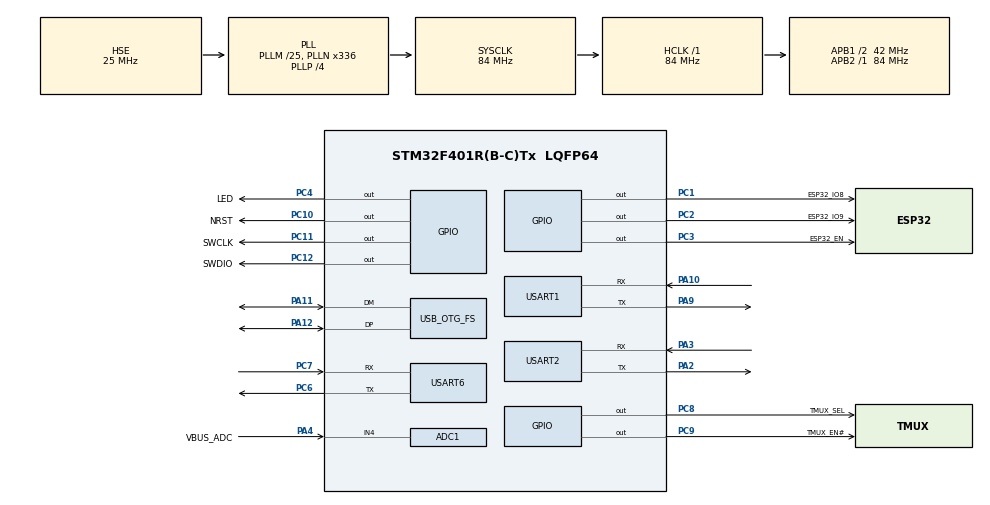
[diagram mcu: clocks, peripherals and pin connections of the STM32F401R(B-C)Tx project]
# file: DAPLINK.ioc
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ADC1.Channel-0\#ChannelRegularConversion=ADC_CHANNEL_4
ADC1.NbrOfConversion=1
ADC1.NbrOfConversionFlag=1
ADC1.Rank-0\#ChannelRegularConversion=1
ADC1.SamplingTime-0\#ChannelRegularConversion=ADC_SAMPLETIME_480CYCLES
ADC1.master=1
Dma.Request0=USART1_RX
Dma.Request1=USART2_RX
Dma.Request2=USART6_RX
Dma.USART1_RX.0.Direction=DMA_PERIPH_TO_MEMORY
Dma.USART1_RX.0.FIFOMode=DMA_FIFOMODE_DISABLE
Dma.USART1_RX.0.Instance=DMA2_Stream2
Dma.USART1_RX.0.MemDataAlignment=DMA_MDATAALIGN_BYTE
Dma.USART1_RX.0.MemInc=DMA_MINC_ENABLE
Dma.USART1_RX.0.Mode=DMA_CIRCULAR
Dma.USART1_RX.0.PeriphDataAlignment=DMA_PDATAALIGN_BYTE
Dma.USART1_RX.0.PeriphInc=DMA_PINC_DISABLE
Dma.USART1_RX.0.Priority=DMA_PRIORITY_MEDIUM
Dma.USART2_RX.1.Direction=DMA_PERIPH_TO_MEMORY
Dma.USART2_RX.1.FIFOMode=DMA_FIFOMODE_DISABLE
Dma.USART2_RX.1.Instance=DMA1_Stream5
Dma.USART2_RX.1.MemDataAlignment=DMA_MDATAALIGN_BYTE
Dma.USART2_RX.1.MemInc=DMA_MINC_ENABLE
Dma.USART2_RX.1.Mode=DMA_CIRCULAR
Dma.USART2_RX.1.PeriphDataAlignment=DMA_PDATAALIGN_BYTE
Dma.USART2_RX.1.PeriphInc=DMA_PINC_DISABLE
Dma.USART2_RX.1.Priority=DMA_PRIORITY_MEDIUM
Dma.USART6_RX.2.Direction=DMA_PERIPH_TO_MEMORY
Dma.USART6_RX.2.FIFOMode=DMA_FIFOMODE_DISABLE
Dma.USART6_RX.2.Instance=DMA2_Stream1
Dma.USART6_RX.2.MemDataAlignment=DMA_MDATAALIGN_BYTE
Dma.USART6_RX.2.MemInc=DMA_MINC_ENABLE
Dma.USART6_RX.2.Mode=DMA_CIRCULAR
Dma.USART6_RX.2.PeriphDataAlignment=DMA_PDATAALIGN_BYTE
Dma.USART6_RX.2.PeriphInc=DMA_PINC_DISABLE
Dma.USART6_RX.2.Priority=DMA_PRIORITY_MEDIUM
Mcu.Family=STM32F4
Mcu.Name=STM32F401R(B-C)Tx
Mcu.Package=LQFP64
NVIC.ADC_IRQn=true\:0\:0\:false\:false\:true\:true\:true\:true
NVIC.DMA1_Stream5_IRQn=true\:0\:0\:false\:false\:true\:false\:true\:true
NVIC.DMA2_Stream1_IRQn=true\:0\:0\:false\:false\:true\:false\:true\:true
NVIC.DMA2_Stream2_IRQn=true\:0\:0\:false\:false\:true\:false\:true\:true
NVIC.OTG_FS_IRQn=true\:0\:0\:false\:false\:true\:true\:true\:true
NVIC.PriorityGroup=NVIC_PRIORITYGROUP_4
NVIC.USART1_IRQn=true\:0\:0\:false\:false\:true\:true\:true\:true
NVIC.USART2_IRQn=true\:0\:0\:false\:false\:true\:true\:true\:true
NVIC.USART6_IRQn=true\:0\:0\:false\:false\:true\:true\:true\:true
PA10.Mode=Asynchronous
PA10.Signal=USART1_RX
PA11.Mode=Device_Only
PA11.Signal=USB_OTG_FS_DM
PA12.Mode=Device_Only
PA12.Signal=USB_OTG_FS_DP
PA13.Mode=Serial_Wire
PA13.Signal=SYS_JTMS-SWDIO
PA14.Mode=Serial_Wire
PA14.Signal=SYS_JTCK-SWCLK
PA2.Mode=Asynchronous
PA2.Signal=USART2_TX
PA3.Mode=Asynchronous
PA3.Signal=USART2_RX
PA4.GPIO_Label=VBUS_ADC
PA4.Signal=ADCx_IN4
PA9.Mode=Asynchronous
PA9.Signal=USART1_TX
PC1.GPIO_Label=ESP32_IO8
PC1.Signal=GPIO_Output
PC10.GPIO_Label=NRST
PC10.GPIO_ModeDefaultOutputPP=GPIO_MODE_OUTPUT_OD
PC10.GPIO_PuPd=GPIO_PULLUP
PC10.GPIO_Speed=GPIO_SPEED_FREQ_VERY_HIGH
PC10.Signal=GPIO_Output
PC11.GPIO_Label=SWCLK
PC11.GPIO_Speed=GPIO_SPEED_FREQ_VERY_HIGH
PC11.Signal=GPIO_Output
PC12.GPIO_Label=SWDIO
PC12.GPIO_Speed=GPIO_SPEED_FREQ_VERY_HIGH
PC12.Signal=GPIO_Output
PC2.GPIO_Label=ESP32_IO9
PC2.Signal=GPIO_Output
PC3.GPIO_Label=ESP32_EN
PC3.Signal=GPIO_Output
PC4.GPIO_Label=LED
PC4.GPIO_Speed=GPIO_SPEED_FREQ_VERY_HIGH
PC4.Signal=GPIO_Output
PC6.Mode=Asynchronous
PC6.Signal=USART6_TX
PC7.Mode=Asynchronous
PC7.Signal=USART6_RX
PC8.GPIO_Label=TMUX_SEL
PC8.GPIO_Speed=GPIO_SPEED_FREQ_VERY_HIGH
PC8.Signal=GPIO_Output
PC9.GPIO_Label=TMUX_EN\#
PC9.GPIO_Speed=GPIO_SPEED_FREQ_VERY_HIGH
PC9.Signal=GPIO_Output
PH0\ -\ OSC_IN.Mode=HSE-External-Oscillator
PH0\ -\ OSC_IN.Signal=RCC_OSC_IN
PH1\ -\ OSC_OUT.Mode=HSE-External-Oscillator
PH1\ -\ OSC_OUT.Signal=RCC_OSC_OUT
ProjectManager.HeapSize=0x200
ProjectManager.StackSize=0x400
ProjectManager.TargetToolchain=STM32CubeIDE
RCC.48MHZClocksFreq_Value=48000000
RCC.AHBFreq_Value=84000000
RCC.APB1CLKDivider=RCC_HCLK_DIV2
RCC.APB1Freq_Value=42000000
RCC.APB1TimFreq_Value=84000000
RCC.APB2Freq_Value=84000000
RCC.APB2TimFreq_Value=84000000
RCC.CortexFreq_Value=84000000
RCC.HCLKFreq_Value=84000000
RCC.HSE_VALUE=25000000
RCC.HSI_VALUE=16000000
RCC.LSE_VALUE=32768
RCC.PLLM=25
RCC.PLLN=336
RCC.PLLP=RCC_PLLP_DIV4
RCC.PLLQ=7
RCC.SYSCLKFreq_VALUE=84000000
RCC.SYSCLKSource=RCC_SYSCLKSOURCE_PLLCLK
RCC.VCOOutputFreq_Value=336000000
SH.ADCx_IN4.0=ADC1_IN4,IN4
USART1.VirtualMode=VM_ASYNC
USART2.VirtualMode=VM_ASYNC
USART6.VirtualMode=VM_ASYNC
USB_OTG_FS.VirtualMode=Device_Only
VP_ADC1_TempSens_Input.Mode=IN-TempSens
board=custom

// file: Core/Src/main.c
/* USER CODE BEGIN Header */
/**
  ******************************************************************************
  * @file           : main.c
  * @brief          : Main program body
  ******************************************************************************
  * @attention
  *
  * Copyright (c) 2026 STMicroelectronics.
  * All rights reserved.
  *
  * This software is licensed under terms that can be found in the LICENSE file
  * in the root directory of this software component.
  * If no LICENSE file comes with this software, it is provided AS-IS.
  *
  ******************************************************************************
  */
/* USER CODE END Header */
#include "main.h"
#include "adc.h"
#include "dma.h"
#include "usart.h"
#include "usb_otg.h"
#include "gpio.h"

/* USER CODE BEGIN Includes */
#include "tusb.h"
#include "board.h"
#include "led.h"
#include "cmsis_dap.h"
#include "target.h"
#include "esp32.h"
#include "uart_manager.h"
#include "cdc_bridge.h"
#include "dap_hid.h"
/* USER CODE END Includes */

void SystemClock_Config(void);

int main(void)
{

  /* MCU Configuration--------------------------------------------------------*/

  /* Reset of all peripherals, Initializes the Flash interface and the Systick. */
  HAL_Init();

  /* Configure the system clock */
  SystemClock_Config();

  /* Initialize all configured peripherals */
  MX_GPIO_Init();
  MX_DMA_Init();
  MX_USART1_UART_Init();
  MX_USART2_UART_Init();
  MX_USART6_UART_Init();
  MX_USB_OTG_FS_PCD_Init();
  MX_ADC1_Init();
  /* USER CODE BEGIN 2 */
  Board_Init();
  DAP_Init();
  HAL_Delay(1000);
  Target_ResetAll();
  CDC_Bridge_Init();
  DAP_HID_Init();
  tusb_init();
  LED_SetState(LED_USB_CONNECTED);
  /* USER CODE END 2 */

  /* Infinite loop */
  while (1)
  {

    /* USER CODE BEGIN 3 */
    tud_task();
    UART_Manager_Task();
    CDC_Task();
    DAP_Task();
    Target_Task();
    ESP32_Task();
    LED_Task();
  }
  /* USER CODE END 3 */
}

void SystemClock_Config(void)
{
  RCC_OscInitTypeDef RCC_OscInitStruct = {0};
  RCC_ClkInitTypeDef RCC_ClkInitStruct = {0};

  /** Configure the main internal regulator output voltage
  */
  __HAL_RCC_PWR_CLK_ENABLE();
  __HAL_PWR_VOLTAGESCALING_CONFIG(PWR_REGULATOR_VOLTAGE_SCALE2);

  /** Initializes the RCC Oscillators according to the specified parameters
  * in the RCC_OscInitTypeDef structure.
  */
  RCC_OscInitStruct.OscillatorType = RCC_OSCILLATORTYPE_HSE;
  RCC_OscInitStruct.HSEState = RCC_HSE_ON;
  RCC_OscInitStruct.PLL.PLLState = RCC_PLL_ON;
  RCC_OscInitStruct.PLL.PLLSource = RCC_PLLSOURCE_HSE;
  RCC_OscInitStruct.PLL.PLLM = 25;
  RCC_OscInitStruct.PLL.PLLN = 336;
  RCC_OscInitStruct.PLL.PLLP = RCC_PLLP_DIV4;
  RCC_OscInitStruct.PLL.PLLQ = 7;
  if (HAL_RCC_OscConfig(&RCC_OscInitStruct) != HAL_OK)
  {
    Error_Handler();
  }

  /** Initializes the CPU, AHB and APB buses clocks
  */
  RCC_ClkInitStruct.ClockType = RCC_CLOCKTYPE_HCLK|RCC_CLOCKTYPE_SYSCLK
                              |RCC_CLOCKTYPE_PCLK1|RCC_CLOCKTYPE_PCLK2;
  RCC_ClkInitStruct.SYSCLKSource = RCC_SYSCLKSOURCE_PLLCLK;
  RCC_ClkInitStruct.AHBCLKDivider = RCC_SYSCLK_DIV1;
  RCC_ClkInitStruct.APB1CLKDivider = RCC_HCLK_DIV2;
  RCC_ClkInitStruct.APB2CLKDivider = RCC_HCLK_DIV1;

  if (HAL_RCC_ClockConfig(&RCC_ClkInitStruct, FLASH_LATENCY_2) != HAL_OK)
  {
    Error_Handler();
  }
}

void Error_Handler(void)
{
  __disable_irq();
  while (1)
  {
  }
}
